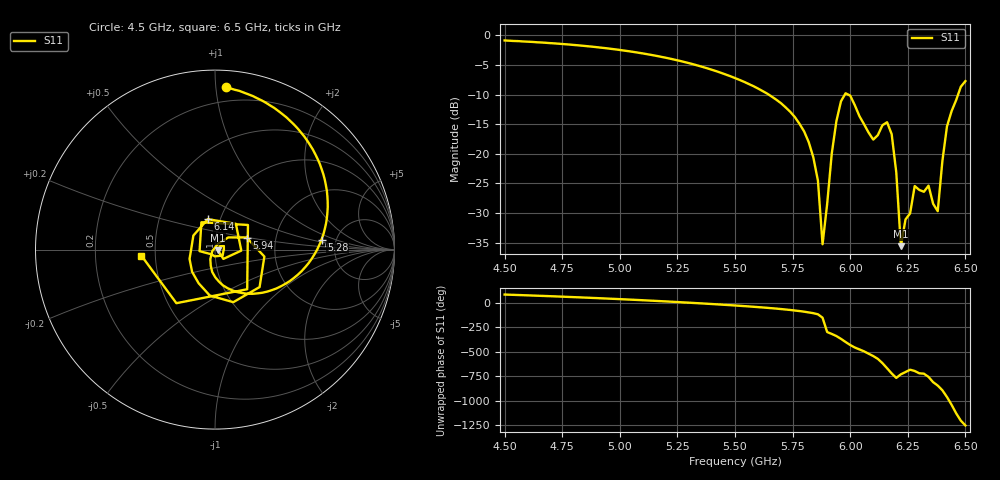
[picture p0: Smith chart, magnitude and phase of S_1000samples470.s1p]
! TOUCHSTONE file generated by CST MICROWAVE STUDIO
! Date and time: Fri Oct 28 06:51:17 2022
! Project name: L.cst
! Parameters = {Di=1.27; Epsilon_r=1.56; InnerDiameter=1.27; Length=2; Lf=10; Lg=60; OuterConductorThickness=0.2921; OuterDiameter=3.6; Wf=3; Wp=41.2; de=1.5; df=6.8; g=0.8; gx=2.66746; gy=3.57154; h=2.34; hf=1.524; px=13.095; py=14.7161; w=9.7; wx=10.4275; wy=11.1446}
! Header version: 2018
! Port assignment regex: !\s*Touchstone port\s*([0-9]+)\s*=\s*(CST MWS port|CST DS port)\s*([0-9]+|Zmin|Zmax)\s*\(\"(.*)\"\)(\s*mode\s*([0-9]+))?.*
! Touchstone port assignment:
! Touchstone port 1 = CST MWS port 1 ("")
# GHz S DB R 50
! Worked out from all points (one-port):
!   101 points, 4.5 GHz to 6.5 GHz, reference 50 ohm
!   lowest |S11| = -35.6 dB at 6.22 GHz (marker M1), VSWR 1.03, Z = 51.7 - j0.332 ohm
!   |S11| at or under -10 dB: 5.646 GHz to 5.977 GHz (330.3 MHz wide, 5.68 % of centre); 5.991 GHz to 6.468 GHz (476.8 MHz wide, 7.65 % of centre)
!   S11 on the Smith chart (normalised r, x): 4.5 GHz: 0.10, +1.06; 5.28 GHz: 3.83, +0.67; 5.94 GHz: 1.41, +0.20; 6.14 GHz: 0.87, +0.31; 6.5 GHz: 0.42, -0.03
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4.5  -0.85 86.2
4.76  -1.48 63.6
5  -2.46 39.1
5.26  -4.29 8.0
5.28  -4.49 5.4
5.5  -7.21 -25.9
5.76  -13.81 -77.5
5.84  -20.61 -104.7
5.86  -24.55 -116.1
5.88  -35.28 -151.2
5.94  -14.50 21.0
5.96  -11.13 -8.0
6  -10.17 -70.8
6.04  -13.63 -116.1
6.1  -17.60 176.0
6.14  -15.17 103.3
6.18  -16.67 -2.2
6.2  -23.14 -48.2
6.22  -35.60 -11.2
6.26  -30.06 36.2
6.28  -25.44 22.7
6.34  -25.38 -37.6
6.38  -29.69 -126.7
6.42  -15.38 116.4
6.44  -12.80 36.8
6.46  -10.92 -50.9
6.48  -8.68 -125.8
6.5  -7.72 -175.2
